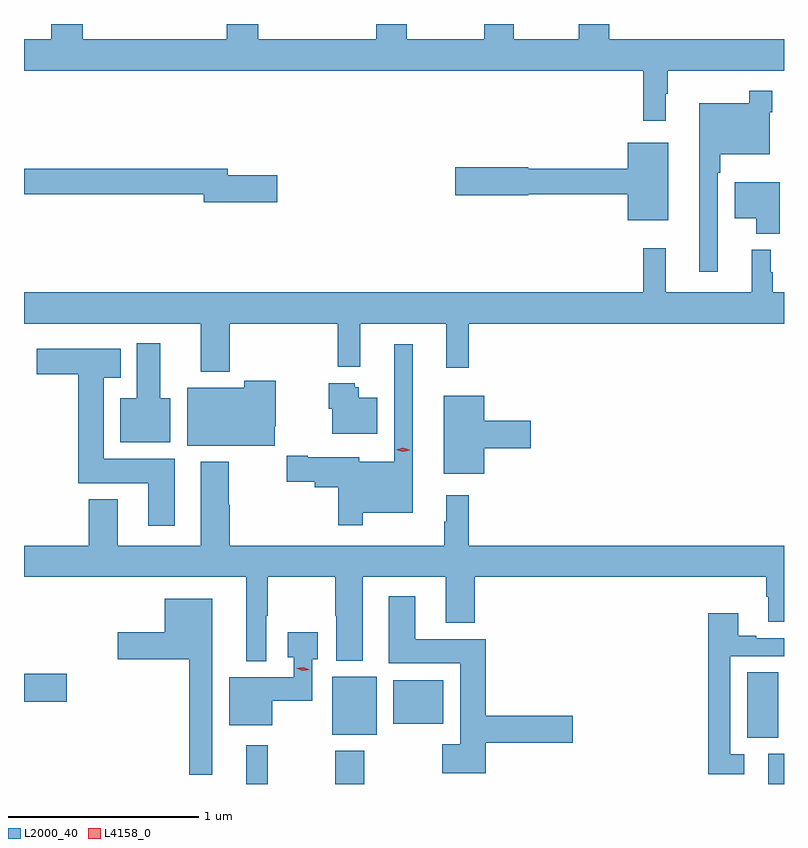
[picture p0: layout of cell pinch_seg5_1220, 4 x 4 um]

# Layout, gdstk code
import gdstk
lib = gdstk.Library(unit=1e-6, precision=1e-09)
def R(c, l, rs):  # rectangles x0, y0, x1, y1
    for r in rs: c.add(gdstk.rectangle(r[:2], r[2:], *l))
def P(c, l, *ps):  # polygons
    for p in ps: c.add(gdstk.Polygon(p, *l))
L2000_40 = (2000, 40)
L4158_0 = (4158, 0)

pinch_seg5_1220 = lib.new_cell('pinch_seg5_1220')
R(pinch_seg5_1220, L2000_40, [(410.879,902.289,410.993,902.494), (411.346,902.289,411.501,902.464), (413.627,902.289,413.709,902.448), (413.516,902.533,413.68,902.876), (411.332,902.549,411.565,902.854), (411.653,902.606,411.916,902.836), (409.709,902.723,409.933,902.87)])
P(pinch_seg5_1220, L2000_40, [(412.79,906.289),(412.63,906.289),(412.63,906.208),(412.287,906.208),(412.287,906.289),(412.132,906.289),(412.132,906.208),(411.723,906.208),(411.723,906.289),(411.563,906.289),(411.563,906.208),(410.942,906.208),(410.942,906.289),(410.777,906.289),(410.777,906.208),(410.018,906.208),(410.018,906.289),(409.853,906.289),(409.853,906.208),(409.709,906.208),(409.709,906.044),(412.969,906.044),(412.969,905.781),(413.086,905.781),(413.086,905.921),(413.098,905.921),(413.098,906.044),(413.709,906.044),(413.709,906.208),(412.79,906.208)],
  [(413.361,905.507),(413.374,905.507),(413.374,905.603),(413.634,905.603),(413.634,905.825),(413.647,905.825),(413.647,905.938),(413.526,905.938),(413.526,905.872),(413.264,905.872),(413.264,904.986),(413.361,904.986)],
  [(413.101,905.665),(412.886,905.665),(412.886,905.528),(412.362,905.528),(412.362,905.534),(411.978,905.534),(411.978,905.387),(412.362,905.387),(412.362,905.392),(412.886,905.392),(412.886,905.255),(413.101,905.255)],
  [(411.043,905.492),(410.782,905.492),(410.782,905.528),(409.709,905.528),(409.709,905.392),(410.654,905.392),(410.654,905.35),(411.043,905.35)],
  [(413.686,905.455),(413.45,905.455),(413.45,905.267),(413.564,905.267),(413.564,905.186),(413.686,905.186)],
  [(410.792,904.712),(411.361,904.712),(411.361,904.484),(411.479,904.484),(411.479,904.712),(411.932,904.712),(411.932,904.479),(412.049,904.479),(412.049,904.712),(413.709,904.712),(413.709,904.876),(413.65,904.876),(413.65,904.983),(413.639,904.983),(413.639,905.101),(413.54,905.101),(413.54,904.876),(413.087,904.876),(413.087,905.11),(412.969,905.11),(412.969,904.876),(409.709,904.876),(409.709,904.712),(410.639,904.712),(410.639,904.46),(410.792,904.46)],
  [(410.479,904.318),(410.425,904.318),(410.425,904.609),(410.303,904.609),(410.303,904.318),(410.216,904.318),(410.216,904.088),(410.479,904.088)],
  [(411.493,903.716),(411.754,903.716),(411.754,904.603),(411.657,904.603),(411.657,903.985),(411.474,903.985),(411.474,904.009),(411.202,904.009),(411.202,904.016),(411.091,904.016),(411.091,903.88),(411.239,903.88),(411.239,903.85),(411.364,903.85),(411.364,903.651),(411.493,903.651)],
  [(410.503,904),(410.128,904),(410.128,904.427),(410.218,904.427),(410.218,904.579),(409.776,904.579),(409.776,904.445),(409.994,904.445),(409.994,903.872),(410.363,903.872),(410.363,903.648),(410.503,903.648)],
  [(411.03,904.171),(411.034,904.171),(411.034,904.411),(410.869,904.411),(410.869,904.375),(410.567,904.375),(410.567,904.07),(411.03,904.07)],
  [(411.568,904.321),(411.472,904.321),(411.472,904.377),(411.45,904.377),(411.45,904.399),(411.314,904.399),(411.314,904.263),(411.332,904.263),(411.332,904.133),(411.568,904.133)],
  [(412.132,904.055),(412.375,904.055),(412.375,904.202),(412.132,904.202),(412.132,904.333),(411.917,904.333),(411.917,903.923),(412.132,903.923)],
  [(410.983,903.175),(410.993,903.175),(410.993,903.38),(411.346,903.38),(411.346,903.175),(411.353,903.175),(411.353,902.939),(411.493,902.939),(411.493,903.38),(411.929,903.38),(411.929,903.137),(412.082,903.137),(412.082,903.38),(413.615,903.38),(413.615,903.274),(413.627,903.274),(413.627,903.142),(413.709,903.142),(413.709,903.544),(412.049,903.544),(412.049,903.808),(411.932,903.808),(411.932,903.668),(411.921,903.668),(411.921,903.544),(410.792,903.544),(410.792,903.759),(410.787,903.759),(410.787,903.985),(410.639,903.985),(410.639,903.544),(410.203,903.544),(410.203,903.787),(410.051,903.787),(410.051,903.544),(409.709,903.544),(409.709,903.38),(410.879,903.38),(410.879,902.936),(410.983,902.936)],
  [(412.139,902.506),(412.597,902.506),(412.597,902.648),(412.139,902.648),(412.139,903.052),(411.769,903.052),(411.769,903.277),(411.629,903.277),(411.629,902.924),(412.004,902.924),(412.004,902.497),(411.909,902.497),(411.909,902.345),(412.139,902.345)],
  [(410.701,903.265),(410.45,903.265),(410.45,903.087),(410.202,903.087),(410.202,902.945),(410.58,902.945),(410.58,902.337),(410.701,902.337)],
  [(413.5,902.445),(413.427,902.445),(413.427,902.961),(413.709,902.961),(413.709,903.057),(413.563,903.057),(413.563,903.07),(413.467,903.07),(413.467,903.187),(413.311,903.187),(413.311,902.34),(413.5,902.34)],
  [(411.016,902.728),(411.225,902.728),(411.225,902.945),(411.256,902.945),(411.256,903.087),(411.098,903.087),(411.098,902.957),(411.129,902.957),(411.129,902.851),(410.789,902.851),(410.789,902.597),(411.016,902.597)])
P(pinch_seg5_1220, L4158_0, [(411.703,904.038),(411.668,904.049),(411.667,904.049),(411.668,904.049),(411.703,904.058),(411.738,904.047),(411.739,904.046),(411.738,904.046)],
  [(411.176,902.884),(411.142,902.897),(411.142,902.897),(411.142,902.898),(411.178,902.904),(411.213,902.89),(411.213,902.89),(411.213,902.89)])

lib.write_gds('pinch_seg5_1220.gds')
